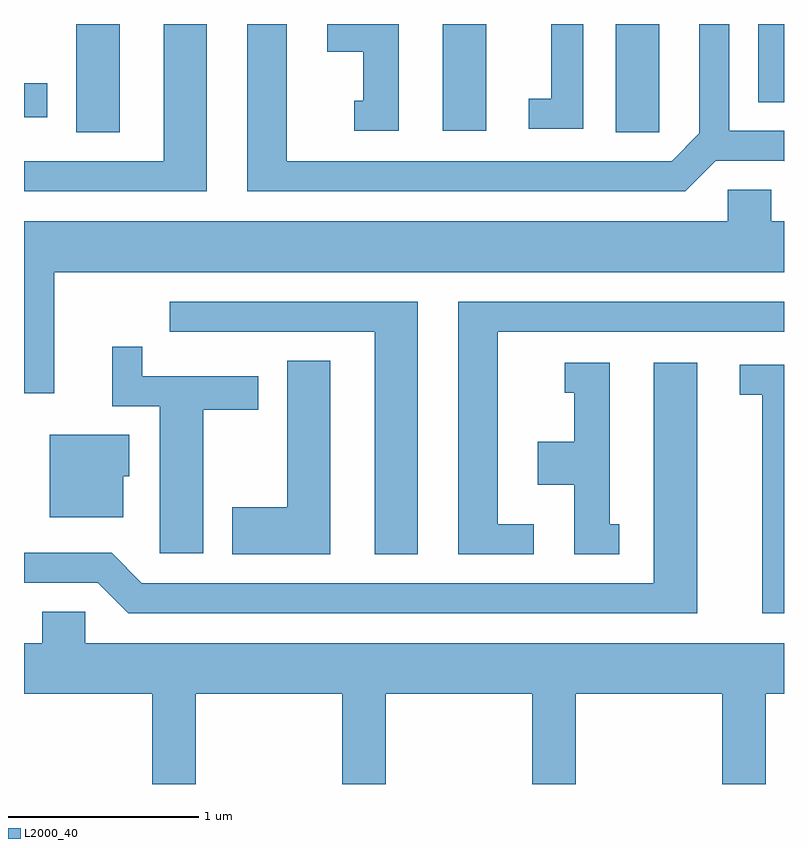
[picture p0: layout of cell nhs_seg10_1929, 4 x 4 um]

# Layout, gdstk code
import gdstk
lib = gdstk.Library(unit=1e-6, precision=1e-09)
def R(c, l, rs):  # rectangles x0, y0, x1, y1
    for r in rs: c.add(gdstk.rectangle(r[:2], r[2:], *l))
def P(c, l, *ps):  # polygons
    for p in ps: c.add(gdstk.Polygon(p, *l))
L2000_40 = (2000, 40)

nhs_seg10_1929 = lib.new_cell('nhs_seg10_1929')
R(nhs_seg10_1929, L2000_40, [(241.886,2147.951,242.114,2148.522), (244.726,2147.951,244.954,2148.522), (243.816,2147.961,244.044,2148.522), (241.611,2148.031,241.734,2148.209), (245.476,2148.111,245.611,2148.522)])
P(nhs_seg10_1929, L2000_40, [(245.252,2147.801),(245.609,2147.801),(245.611,2147.799),(245.611,2147.959),(245.324,2147.959),(245.324,2148.522),(245.166,2148.522),(245.166,2147.947),(245.019,2147.799),(242.994,2147.799),(242.994,2148.522),(242.786,2148.522),(242.786,2147.641),(245.092,2147.641)],
  [(243.584,2148.522),(243.206,2148.522),(243.206,2148.376),(243.396,2148.376),(243.396,2148.119),(243.348,2148.119),(243.348,2147.961),(243.584,2147.961)],
  [(242.574,2148.522),(242.346,2148.522),(242.346,2147.799),(241.611,2147.799),(241.611,2147.641),(242.574,2147.641)],
  [(244.554,2148.522),(244.386,2148.522),(244.386,2148.129),(244.268,2148.129),(244.268,2147.971),(244.554,2147.971)],
  [(241.769,2147.216),(245.611,2147.216),(245.611,2147.484),(245.544,2147.484),(245.544,2147.649),(245.316,2147.649),(245.316,2147.484),(241.611,2147.484),(241.611,2146.578),(241.769,2146.578)],
  [(244.293,2145.889),(244.104,2145.889),(244.104,2146.901),(245.611,2146.901),(245.611,2147.059),(243.896,2147.059),(243.896,2145.731),(244.293,2145.731)],
  [(243.684,2147.059),(242.378,2147.059),(242.378,2146.901),(243.456,2146.901),(243.456,2145.731),(243.684,2145.731)],
  [(242.554,2146.491),(242.844,2146.491),(242.844,2146.669),(242.234,2146.669),(242.234,2146.823),(242.076,2146.823),(242.076,2146.511),(242.326,2146.511),(242.326,2145.736),(242.554,2145.736)],
  [(243.224,2146.749),(242.996,2146.749),(242.996,2145.979),(242.706,2145.979),(242.706,2145.731),(243.224,2145.731)],
  [(244.743,2145.889),(244.694,2145.889),(244.694,2146.739),(244.458,2146.739),(244.458,2146.581),(244.506,2146.581),(244.506,2146.324),(244.316,2146.324),(244.316,2146.096),(244.506,2146.096),(244.506,2145.731),(244.743,2145.731)],
  [(245.154,2146.739),(244.926,2146.739),(244.926,2145.579),(242.232,2145.579),(242.072,2145.739),(241.611,2145.739),(241.611,2145.581),(241.999,2145.581),(242.159,2145.421),(245.154,2145.421)],
  [(245.611,2146.729),(245.378,2146.729),(245.378,2146.571),(245.496,2146.571),(245.496,2145.421),(245.611,2145.421)],
  [(242.134,2146.141),(242.164,2146.141),(242.164,2146.359),(241.746,2146.359),(241.746,2145.926),(242.134,2145.926)],
  [(242.514,2144.996),(243.286,2144.996),(243.286,2144.522),(243.514,2144.522),(243.514,2144.996),(244.286,2144.996),(244.286,2144.522),(244.514,2144.522),(244.514,2144.996),(245.286,2144.996),(245.286,2144.522),(245.514,2144.522),(245.514,2144.996),(245.611,2144.996),(245.611,2145.264),(241.934,2145.264),(241.934,2145.429),(241.706,2145.429),(241.706,2145.264),(241.611,2145.264),(241.611,2144.996),(242.286,2144.996),(242.286,2144.522),(242.514,2144.522)])

lib.write_gds('nhs_seg10_1929.gds')
